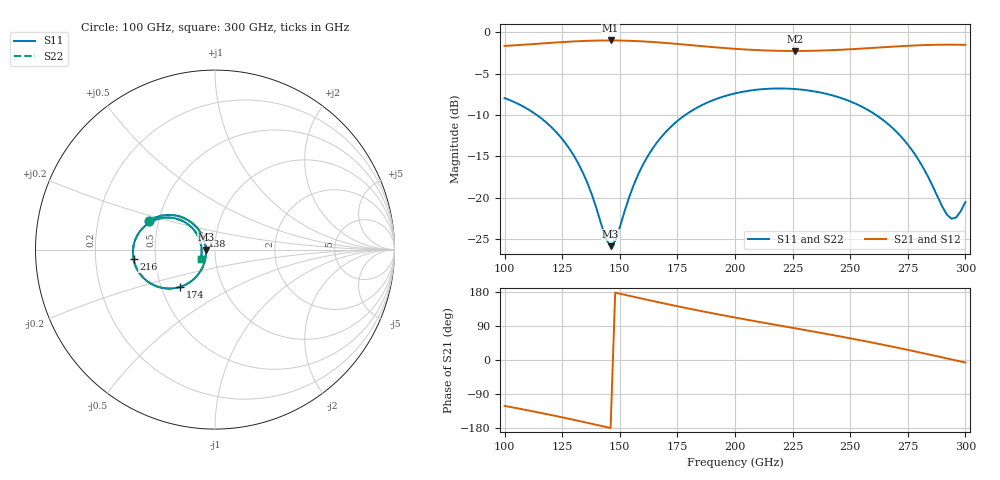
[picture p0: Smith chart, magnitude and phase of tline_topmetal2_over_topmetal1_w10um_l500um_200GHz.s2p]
#  GHZ S DB R 50
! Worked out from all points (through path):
!   101 points, 100 GHz to 300 GHz, reference 50 ohm
!   highest |S21| = -0.97 dB at 146 GHz (marker M1); lowest = -2.2 dB at 226 GHz (marker M2)
!   group delay of S21, straight-line fit = 3.36 ps
!   lowest |S11| = -25.9 dB at 146 GHz (marker M3), VSWR 1.11, Z = 45.2 - j0.0697 ohm
!   |S11| at or under -10 dB: 114 GHz to 178.4 GHz (64.43 GHz wide, 44.1 % of centre); 261.2 GHz to end of sweep
!   |S22| runs from -25.9 to -6.8 dB; largest |S21 - S12| = 1.5e-14
!   S11 on the Smith chart (normalised r, x): 100 GHz: 0.44, +0.17; 138 GHz: 0.86, +0.13; 174 GHz: 0.63, -0.28; 216 GHz: 0.37, -0.05; 300 GHz: 0.85, -0.09
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100  -7.95 156.2  -1.62 -121.1  -1.62 -121.1  -7.95 156.2
120  -11.39 136.8  -1.25 -145.0  -1.25 -145.0  -11.39 136.8
128  -14.03 130.9  -1.11 -155.2  -1.11 -155.2  -14.03 130.9
134  -17.00 129.6  -1.03 -163.2  -1.03 -163.2  -17.00 129.5
138  -19.75 132.9  -0.99 -168.6  -0.99 -168.6  -19.75 132.8
144  -25.02 160.3  -0.97 -176.7  -0.97 -176.7  -25.05 160.2
146  -25.89 -179.1  -0.97 -179.5  -0.97 -179.5  -25.93 -179.2
148  -25.25 -157.9  -0.97 177.8  -0.97 177.8  -25.29 -157.8
158  -17.19 -124.2  -1.05 164.2  -1.05 164.2  -17.19 -124.1
168  -12.67 -127.9  -1.23 150.8  -1.23 150.8  -12.67 -127.8
174  -10.96 -132.9  -1.36 143.1  -1.36 143.1  -10.96 -132.8
186  -8.75 -144.4  -1.66 128.3  -1.66 128.3  -8.75 -144.3
200  -7.38 -158.1  -1.98 112.1  -1.98 112.1  -7.38 -158.0
216  -6.80 -173.3  -2.20 94.5  -2.20 94.5  -6.80 -173.2
226  -6.85 177.4  -2.24 83.8  -2.24 83.8  -6.85 177.5
234  -7.12 170.0  -2.21 75.1  -2.21 75.1  -7.11 170.1
252  -8.59 153.5  -2.00 54.9  -2.00 54.9  -8.58 153.7
268  -11.48 140.5  -1.72 35.6  -1.72 35.6  -11.46 140.7
280  -15.59 136.7  -1.55 20.2  -1.55 20.2  -15.56 136.9
292  -22.08 165.9  -1.48 4.1  -1.48 4.1  -21.99 166.0
296  -22.41 -167.6  -1.48 -1.3  -1.48 -1.3  -22.32 -167.8
300  -20.55 -146.7  -1.50 -6.7  -1.50 -6.7  -20.51 -147.0
